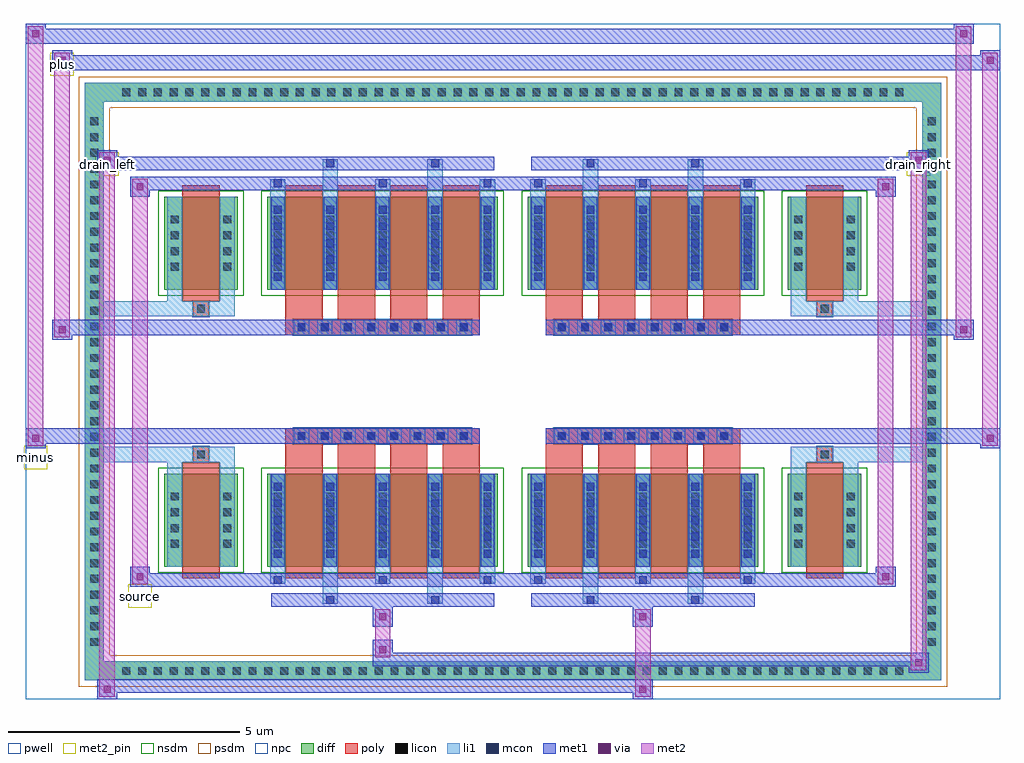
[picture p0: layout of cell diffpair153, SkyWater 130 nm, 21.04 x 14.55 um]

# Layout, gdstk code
import gdstk
lib = gdstk.Library(unit=1e-6, precision=5e-09)
def R(c, l, rs):  # rectangles x0, y0, x1, y1
    for r in rs: c.add(gdstk.rectangle(r[:2], r[2:], *l))
def A(c, l, x, y, w, h, nx, ny, dx, dy):  # array of equal rectangles
    R(c, l, [(x+i*dx, y+j*dy, x+i*dx+w, y+j*dy+h) for i in range(nx) for j in range(ny)])
def P(c, l, *ps):  # polygons
    for p in ps: c.add(gdstk.Polygon(p, *l))
pwell = (64, 44)
diff = (65, 20)
poly = (66, 20)
licon = (66, 44)
li1 = (67, 20)
mcon = (67, 44)
met1 = (68, 20)
via = (68, 44)
met2_pin = (69, 16)
met2 = (69, 20)
nsdm = (93, 44)
psdm = (94, 20)
npc = (95, 20)

diffpair153 = lib.new_cell('diffpair153')
R(diffpair153, pwell, [(-10.5,-6.84,10.5,7.71), (-7.82,-5.03,-0.01,-0.805), (0.01,-5.03,7.82,-0.805), (-7.82,0.805,-0.01,5.03), (0.01,0.805,7.82,5.03)])
A(diffpair153, diff, -8.535, -6.44, 0.41, 0.41, 50, 2, 0.34, 12.47)
A(diffpair153, diff, -9.23, -5.815, 0.41, 0.41, 1, 34, 0, 0.34)
A(diffpair153, diff, 8.82, -5.815, 0.41, 0.41, 1, 34, 0, 0.34)
R(diffpair153, diff, [(-8.535,-6.44,8.535,-6.03), (-9.23,-5.815,-8.82,5.815), (8.82,-5.815,9.23,5.815), (-7.51,-3.985,-5.93,-1.985), (-5.29,-3.985,-0.32,-1.985), (0.32,-3.985,5.29,-1.985), (5.93,-3.985,7.51,-1.985), (-7.51,1.985,-5.93,3.985), (-5.29,1.985,-0.32,3.985), (0.32,1.985,5.29,3.985), (5.93,1.985,7.51,3.985), (-8.535,6.03,8.535,6.44)])
P(diffpair153, diff, [(9.23,6.44),(-9.23,6.44),(-9.23,-6.03),(-8.82,-6.03),(-8.82,6.03),(8.82,6.03),(8.82,-6.03),(-8.82,-6.03),(-9.23,-6.03),(-9.23,-6.44),(9.23,-6.44)])
A(diffpair153, poly, -4.9, -4.235, 0.8, 2.5, 4, 2, 1.13, 5.97)
A(diffpair153, poly, 0.71, -4.235, 0.8, 2.5, 4, 2, 1.13, 5.97)
A(diffpair153, poly, -4.9, -1.735, 0.8, 0.4, 4, 2, 1.13, 3.07)
A(diffpair153, poly, 0.71, -1.735, 0.8, 0.4, 4, 2, 1.13, 3.07)
A(diffpair153, poly, -4.72, -1.335, 0.33, 0.33, 8, 2, 0.5, 2.34)
A(diffpair153, poly, 0.89, -1.335, 0.33, 0.33, 8, 2, 0.5, 2.34)
R(diffpair153, poly, [(-7.12,-4.235,-6.32,-1.735), (6.32,-4.235,7.12,-1.735), (-6.885,-1.735,-6.555,-1.405), (-6.885,-1.735,-6.555,-1.405), (6.555,-1.735,6.885,-1.405), (6.555,-1.735,6.885,-1.405), (-4.9,-1.335,-0.71,-1.005), (0.71,-1.335,4.9,-1.005), (-4.9,1.005,-0.71,1.335), (0.71,1.005,4.9,1.335), (-6.885,1.405,-6.555,1.735), (-6.885,1.405,-6.555,1.735), (6.555,1.405,6.885,1.735), (6.555,1.405,6.885,1.735), (-7.12,1.735,-6.32,4.235), (6.32,1.735,7.12,4.235)])
A(diffpair153, licon, -8.415, -6.32, 0.17, 0.17, 50, 2, 0.34, 12.47)
A(diffpair153, licon, -9.11, -5.695, 0.17, 0.17, 1, 34, 0, 0.34)
A(diffpair153, licon, 8.94, -5.695, 0.17, 0.17, 1, 34, 0, 0.34)
A(diffpair153, licon, -7.37, -3.58, 0.17, 0.17, 1, 4, 0, 0.34)
A(diffpair153, licon, -6.24, -3.58, 0.17, 0.17, 1, 4, 0, 0.34)
A(diffpair153, licon, -5.15, -3.58, 0.17, 0.17, 5, 4, 1.13, 0.34)
A(diffpair153, licon, 0.46, -3.58, 0.17, 0.17, 5, 4, 1.13, 0.34)
A(diffpair153, licon, 6.07, -3.58, 0.17, 0.17, 1, 4, 0, 0.34)
A(diffpair153, licon, 7.2, -3.58, 0.17, 0.17, 1, 4, 0, 0.34)
A(diffpair153, licon, -4.64, -1.255, 0.17, 0.17, 8, 2, 0.5, 2.34)
A(diffpair153, licon, 0.97, -1.255, 0.17, 0.17, 8, 2, 0.5, 2.34)
A(diffpair153, licon, -7.37, 2.39, 0.17, 0.17, 1, 4, 0, 0.34)
A(diffpair153, licon, -6.24, 2.39, 0.17, 0.17, 1, 4, 0, 0.34)
A(diffpair153, licon, -5.15, 2.39, 0.17, 0.17, 5, 4, 1.13, 0.34)
A(diffpair153, licon, 0.46, 2.39, 0.17, 0.17, 5, 4, 1.13, 0.34)
A(diffpair153, licon, 6.07, 2.39, 0.17, 0.17, 1, 4, 0, 0.34)
A(diffpair153, licon, 7.2, 2.39, 0.17, 0.17, 1, 4, 0, 0.34)
R(diffpair153, licon, [(-6.805,-1.655,-6.635,-1.485), (6.635,-1.655,6.805,-1.485), (-6.805,1.485,-6.635,1.655), (6.635,1.485,6.805,1.655)])
A(diffpair153, li1, -8.495, -6.4, 0.33, 0.33, 50, 2, 0.34, 12.47)
A(diffpair153, li1, -9.19, -5.775, 0.33, 0.33, 1, 34, 0, 0.34)
A(diffpair153, li1, 8.86, -5.775, 0.33, 0.33, 1, 34, 0, 0.34)
A(diffpair153, li1, -5.23, -4.36, 0.33, 0.375, 3, 2, 2.26, 8.345)
A(diffpair153, li1, -5.15, -4.36, 0.17, 0.17, 3, 2, 2.26, 8.55)
A(diffpair153, li1, 0.38, -4.36, 0.33, 0.375, 3, 2, 2.26, 8.345)
A(diffpair153, li1, 0.46, -4.36, 0.17, 0.17, 3, 2, 2.26, 8.55)
A(diffpair153, li1, -5.23, -3.985, 0.33, 2, 5, 2, 1.13, 5.97)
A(diffpair153, li1, 0.38, -3.985, 0.33, 2, 5, 2, 1.13, 5.97)
A(diffpair153, li1, -5.15, -3.79, 0.17, 0.17, 5, 5, 1.13, 0.36)
A(diffpair153, li1, -5.15, -3.79, 0.17, 1.61, 5, 2, 1.13, 5.97)
A(diffpair153, li1, 0.46, -3.79, 0.17, 0.17, 5, 5, 1.13, 0.36)
A(diffpair153, li1, 0.46, -3.79, 0.17, 1.61, 5, 2, 1.13, 5.97)
A(diffpair153, li1, -7.45, -3.66, 0.33, 0.33, 1, 4, 0, 0.34)
A(diffpair153, li1, -6.32, -3.66, 0.33, 0.33, 1, 4, 0, 0.34)
A(diffpair153, li1, -5.23, -3.66, 0.33, 0.33, 5, 4, 1.13, 0.34)
A(diffpair153, li1, 0.38, -3.66, 0.33, 0.33, 5, 4, 1.13, 0.34)
A(diffpair153, li1, 5.99, -3.66, 0.33, 0.33, 1, 4, 0, 0.34)
A(diffpair153, li1, 7.12, -3.66, 0.33, 0.33, 1, 4, 0, 0.34)
A(diffpair153, li1, -4.72, -1.335, 0.33, 0.33, 8, 2, 0.5, 2.34)
A(diffpair153, li1, 0.89, -1.335, 0.33, 0.33, 8, 2, 0.5, 2.34)
A(diffpair153, li1, -5.15, 2.18, 0.17, 0.17, 5, 5, 1.13, 0.36)
A(diffpair153, li1, 0.46, 2.18, 0.17, 0.17, 5, 5, 1.13, 0.36)
A(diffpair153, li1, -7.45, 2.31, 0.33, 0.33, 1, 4, 0, 0.34)
A(diffpair153, li1, -6.32, 2.31, 0.33, 0.33, 1, 4, 0, 0.34)
A(diffpair153, li1, -5.23, 2.31, 0.33, 0.33, 5, 4, 1.13, 0.34)
A(diffpair153, li1, 0.38, 2.31, 0.33, 0.33, 5, 4, 1.13, 0.34)
A(diffpair153, li1, 5.99, 2.31, 0.33, 0.33, 1, 4, 0, 0.34)
A(diffpair153, li1, 7.12, 2.31, 0.33, 0.33, 1, 4, 0, 0.34)
R(diffpair153, li1, [(-9.23,-6.44,-8.82,-6.03), (-9.23,-6.44,-8.82,-6.03), (-8.82,-6.44,8.82,-6.03), (8.82,-6.44,9.23,-6.03), (8.82,-6.44,9.23,-6.03), (-9.23,-6.03,-8.82,6.03), (8.82,-6.03,9.23,6.03), (-4.1,-4.79,-3.77,-3.985), (-4.02,-4.79,-3.85,-4.62), (-1.84,-4.79,-1.51,-3.985), (-1.76,-4.79,-1.59,-4.62), (1.51,-4.79,1.84,-3.985), (1.59,-4.79,1.76,-4.62), (3.77,-4.79,4.1,-3.985), (3.85,-4.79,4.02,-4.62), (-7.45,-3.985,-7.12,-1.985), (-6.32,-3.985,-5.99,-1.985), (5.99,-3.985,6.32,-1.985), (7.12,-3.985,7.45,-1.985), (-7.45,-1.985,-7.12,-1.405), (-6.32,-1.985,-5.99,-1.405), (5.99,-1.985,6.32,-1.405), (7.12,-1.985,7.45,-1.405), (-9.23,-1.735,-6.885,-1.405), (-7.45,-1.735,-6.885,-1.405), (-6.885,-1.735,-6.555,-1.405), (-6.555,-1.735,-5.99,-1.405), (5.99,-1.735,6.555,-1.405), (6.555,-1.735,6.885,-1.405), (6.555,-1.735,9.23,-1.405), (6.885,-1.735,7.45,-1.405), (-9.23,1.405,-6.885,1.735), (-7.45,1.405,-6.885,1.735), (-7.45,1.405,-7.12,1.985), (-6.885,1.405,-6.555,1.735), (-6.555,1.405,-5.99,1.735), (-6.32,1.405,-5.99,1.985), (5.99,1.405,6.555,1.735), (5.99,1.405,6.32,1.985), (6.555,1.405,6.885,1.735), (6.555,1.405,9.23,1.735), (6.885,1.405,7.45,1.735), (7.12,1.405,7.45,1.985), (-7.45,1.985,-7.12,3.985), (-6.32,1.985,-5.99,3.985), (5.99,1.985,6.32,3.985), (7.12,1.985,7.45,3.985), (-4.1,3.985,-3.77,4.79), (-1.84,3.985,-1.51,4.79), (1.51,3.985,1.84,4.79), (3.77,3.985,4.1,4.79), (-4.02,4.62,-3.85,4.79), (-1.76,4.62,-1.59,4.79), (1.59,4.62,1.76,4.79), (3.85,4.62,4.02,4.79), (-9.23,6.03,-8.82,6.44), (-9.23,6.03,-8.82,6.44), (-8.82,6.03,8.82,6.44), (8.82,6.03,9.23,6.44), (8.82,6.03,9.23,6.44)])
A(diffpair153, mcon, -5.15, -4.36, 0.17, 0.17, 3, 2, 2.26, 8.55)
A(diffpair153, mcon, 0.46, -4.36, 0.17, 0.17, 3, 2, 2.26, 8.55)
A(diffpair153, mcon, -5.15, -3.79, 0.17, 0.17, 5, 5, 1.13, 0.36)
A(diffpair153, mcon, 0.46, -3.79, 0.17, 0.17, 5, 5, 1.13, 0.36)
A(diffpair153, mcon, -4.64, -1.255, 0.17, 0.17, 8, 2, 0.5, 2.34)
A(diffpair153, mcon, 0.97, -1.255, 0.17, 0.17, 8, 2, 0.5, 2.34)
A(diffpair153, mcon, -5.15, 2.18, 0.17, 0.17, 5, 5, 1.13, 0.36)
A(diffpair153, mcon, 0.46, 2.18, 0.17, 0.17, 5, 5, 1.13, 0.36)
R(diffpair153, mcon, [(-4.02,-4.79,-3.85,-4.62), (-1.76,-4.79,-1.59,-4.62), (1.59,-4.79,1.76,-4.62), (3.85,-4.79,4.02,-4.62), (-4.02,4.62,-3.85,4.79), (-1.76,4.62,-1.59,4.79), (1.59,4.62,1.76,4.79), (3.85,4.62,4.02,4.79)])
A(diffpair153, met1, -5.21, -4.42, 0.29, 0.29, 3, 2, 2.26, 8.55)
A(diffpair153, met1, 0.4, -4.42, 0.29, 0.29, 3, 2, 2.26, 8.55)
A(diffpair153, met1, -5.21, -3.985, 0.29, 2, 5, 2, 1.13, 5.97)
A(diffpair153, met1, 0.4, -3.985, 0.29, 2, 5, 2, 1.13, 5.97)
A(diffpair153, met1, -5.21, -3.85, 0.29, 0.29, 5, 5, 1.13, 0.36)
A(diffpair153, met1, 0.4, -3.85, 0.29, 0.29, 5, 5, 1.13, 0.36)
A(diffpair153, met1, -4.7, -1.315, 0.29, 0.29, 8, 2, 0.5, 2.34)
A(diffpair153, met1, 0.91, -1.315, 0.29, 0.29, 8, 2, 0.5, 2.34)
A(diffpair153, met1, -5.21, 2.12, 0.29, 0.29, 5, 5, 1.13, 0.36)
A(diffpair153, met1, 0.4, 2.12, 0.29, 0.29, 5, 5, 1.13, 0.36)
R(diffpair153, met1, [(-8.96,-6.84,-8.53,-6.41), (2.59,-6.84,3.02,-6.41), (-8.96,-6.7,3.02,-6.41), (8.53,-6.27,8.96,-5.84), (-3.02,-6.13,8.96,-5.84), (-3.02,-5.99,-2.59,-5.56), (-3.02,-5.28,-2.59,-4.85), (2.59,-5.28,3.02,-4.85), (-5.21,-4.85,-0.4,-4.56), (-4.08,-4.85,-3.79,-4.56), (-1.82,-4.85,-1.53,-4.56), (0.4,-4.85,5.21,-4.56), (1.53,-4.85,1.82,-4.56), (3.79,-4.85,4.08,-4.56), (-8.25,-4.42,-7.82,-3.99), (-8.25,-4.42,-5.21,-4.13), (-5.21,-4.42,-0.4,-4.13), (-0.4,-4.42,0.4,-4.13), (0.4,-4.42,5.21,-4.13), (5.21,-4.42,8.25,-4.13), (7.82,-4.42,8.25,-3.99), (-10.5,-1.435,-10.07,-1.005), (10.07,-1.435,10.5,-1.005), (-10.5,-1.335,-0.71,-1.005), (-4.9,-1.335,-0.71,-1.005), (0.71,-1.335,4.9,-1.005), (0.71,-1.335,10.5,-1.005), (-9.93,0.905,-9.5,1.335), (9.5,0.905,9.93,1.335), (-9.93,1.005,-4.9,1.335), (-4.9,1.005,-0.71,1.335), (0.71,1.005,4.9,1.335), (4.9,1.005,9.93,1.335), (-8.25,3.99,-7.82,4.42), (7.82,3.99,8.25,4.42), (-8.25,4.13,-5.21,4.42), (-5.21,4.13,-0.4,4.42), (-0.4,4.13,0.4,4.42), (0.4,4.13,5.21,4.42), (5.21,4.13,8.25,4.42), (-8.96,4.56,-8.53,4.99), (-8.96,4.56,-5.21,4.85), (-5.21,4.56,-0.4,4.85), (-4.08,4.56,-3.79,4.85), (-1.82,4.56,-1.53,4.85), (0.4,4.56,5.21,4.85), (1.53,4.56,1.82,4.85), (3.79,4.56,4.08,4.85), (5.21,4.56,8.96,4.85), (8.53,4.56,8.96,4.99), (-9.93,6.71,-9.5,7.14), (-9.93,6.71,-7.82,7.04), (-7.82,6.71,7.82,7.04), (7.82,6.71,10.5,7.04), (10.07,6.71,10.5,7.14), (-10.5,7.28,-10.07,7.71), (-10.5,7.28,-7.82,7.61), (-7.82,7.28,7.82,7.61), (7.82,7.28,9.93,7.61), (9.5,7.28,9.93,7.71)])
R(diffpair153, via, [(-8.82,-6.7,-8.67,-6.55), (2.73,-6.7,2.88,-6.55), (8.67,-6.13,8.82,-5.98), (-2.88,-5.85,-2.73,-5.7), (-2.88,-5.14,-2.73,-4.99), (2.73,-5.14,2.88,-4.99), (-8.11,-4.28,-7.96,-4.13), (7.96,-4.28,8.11,-4.13), (-10.36,-1.295,-10.21,-1.145), (10.21,-1.295,10.36,-1.145), (-9.79,1.045,-9.64,1.195), (9.64,1.045,9.79,1.195), (-8.11,4.13,-7.96,4.28), (7.96,4.13,8.11,4.28), (-8.82,4.7,-8.67,4.85), (8.67,4.7,8.82,4.85), (-9.79,6.85,-9.64,7), (10.21,6.85,10.36,7), (-10.36,7.42,-10.21,7.57), (9.64,7.42,9.79,7.57)])
R(diffpair153, met2_pin, [(-8.285,-4.87,-7.785,-4.37), (-10.535,-1.885,-10.035,-1.385), (-8.995,4.44,-8.495,4.94), (8.495,4.44,8.995,4.94), (-9.965,6.59,-9.465,7.09)])
R(diffpair153, met2, [(-8.91,-6.79,-8.58,-6.46), (-8.91,-6.79,-8.58,4.94), (2.64,-6.79,2.97,-6.46), (2.64,-6.46,2.97,-5.23), (8.58,-6.22,8.91,-5.89), (8.58,-6.22,8.91,4.94), (-2.97,-5.94,-2.64,-5.61), (-2.97,-5.61,-2.64,-5.23), (-2.97,-5.23,-2.64,-4.9), (2.64,-5.23,2.97,-4.9), (-8.2,-4.37,-7.87,-4.04), (-8.2,-4.37,-7.87,4.37), (7.87,-4.37,8.2,-4.04), (7.87,-4.37,8.2,4.37), (-10.45,-1.385,-10.12,-1.055), (-10.45,-1.385,-10.12,7.66), (10.12,-1.385,10.45,-1.055), (10.12,-1.385,10.45,7.09), (-9.88,0.955,-9.55,1.285), (-9.88,0.955,-9.55,7.09), (9.55,0.955,9.88,1.285), (9.55,0.955,9.88,7.66), (-8.2,4.04,-7.87,4.37), (7.87,4.04,8.2,4.37), (-8.91,4.61,-8.58,4.94), (8.58,4.61,8.91,4.94), (-9.88,6.76,-9.55,7.09), (10.12,6.76,10.45,7.09), (-10.45,7.33,-10.12,7.66), (9.55,7.33,9.88,7.66)])
P(diffpair153, met2, [(10.45,-1.385),(10.45,-1.385),(10.45,-1.055),(10.45,-1.055)],
  [(10.45,6.76),(10.45,6.76),(10.45,7.09),(10.45,7.09)],
  [(-10.12,-1.385),(-10.12,-1.385),(-10.12,-1.055),(-10.12,-1.055)],
  [(-10.12,7.33),(-10.12,7.33),(-10.12,7.66),(-10.12,7.66)],
  [(9.88,0.955),(9.88,0.955),(9.88,1.285),(9.88,1.285)],
  [(9.88,7.33),(9.88,7.33),(9.88,7.66),(9.88,7.66)],
  [(-9.55,0.955),(-9.55,0.955),(-9.55,1.285),(-9.55,1.285)],
  [(-9.55,6.76),(-9.55,6.76),(-9.55,7.09),(-9.55,7.09)],
  [(-8.58,-6.79),(-8.58,-6.79),(-8.58,-6.46),(-8.58,-6.46)],
  [(-8.58,4.61),(-8.58,4.61),(-8.58,4.94),(-8.58,4.94)],
  [(8.91,-6.22),(8.91,-6.22),(8.91,-5.89),(8.91,-5.89)],
  [(8.91,4.61),(8.91,4.61),(8.91,4.94),(8.91,4.94)],
  [(-7.87,-4.37),(-7.87,-4.37),(-7.87,-4.04),(-7.87,-4.04)],
  [(-7.87,4.04),(-7.87,4.04),(-7.87,4.37),(-7.87,4.37)],
  [(8.2,-4.37),(8.2,-4.37),(8.2,-4.04),(8.2,-4.04)],
  [(8.2,4.04),(8.2,4.04),(8.2,4.37),(8.2,4.37)])
R(diffpair153, nsdm, [(-7.64,-4.115,-5.8,-1.855), (-5.42,-4.115,-0.19,-1.855), (0.19,-4.115,5.42,-1.855), (5.8,-4.115,7.64,-1.855), (-7.64,1.855,-5.8,4.115), (-5.42,1.855,-0.19,4.115), (0.19,1.855,5.42,4.115), (5.8,1.855,7.64,4.115)])
P(diffpair153, psdm, [(9.36,6.57),(-9.36,6.57),(-9.36,-5.9),(-8.69,-5.9),(-8.69,5.9),(8.69,5.9),(8.69,-5.9),(-8.69,-5.9),(-9.36,-5.9),(-9.36,-6.57),(9.36,-6.57)])
A(diffpair153, npc, -4.74, -1.355, 0.37, 0.37, 8, 2, 0.5, 2.34)
A(diffpair153, npc, 0.87, -1.355, 0.37, 0.37, 8, 2, 0.5, 2.34)
R(diffpair153, npc, [(-6.905,-1.755,-6.535,-1.385), (6.535,-1.755,6.905,-1.385), (-4.74,-1.355,-3.87,-0.985), (-4.74,-1.355,-3.87,-0.985), (-4.24,-1.355,-3.37,-0.985), (-4.24,-1.355,-3.37,-0.985), (-3.74,-1.355,-2.87,-0.985), (-3.74,-1.355,-2.87,-0.985), (-3.24,-1.355,-2.37,-0.985), (-3.24,-1.355,-2.37,-0.985), (-2.74,-1.355,-1.87,-0.985), (-2.74,-1.355,-1.87,-0.985), (-2.24,-1.355,-1.37,-0.985), (-2.24,-1.355,-1.37,-0.985), (-1.74,-1.355,-0.87,-0.985), (-1.74,-1.355,-0.87,-0.985), (0.87,-1.355,1.74,-0.985), (0.87,-1.355,1.74,-0.985), (1.37,-1.355,2.24,-0.985), (1.37,-1.355,2.24,-0.985), (1.87,-1.355,2.74,-0.985), (1.87,-1.355,2.74,-0.985), (2.37,-1.355,3.24,-0.985), (2.37,-1.355,3.24,-0.985), (2.87,-1.355,3.74,-0.985), (2.87,-1.355,3.74,-0.985), (3.37,-1.355,4.24,-0.985), (3.37,-1.355,4.24,-0.985), (3.87,-1.355,4.74,-0.985), (3.87,-1.355,4.74,-0.985), (-4.74,0.985,-3.87,1.355), (-4.74,0.985,-3.87,1.355), (-4.24,0.985,-3.37,1.355), (-4.24,0.985,-3.37,1.355), (-3.74,0.985,-2.87,1.355), (-3.74,0.985,-2.87,1.355), (-3.24,0.985,-2.37,1.355), (-3.24,0.985,-2.37,1.355), (-2.74,0.985,-1.87,1.355), (-2.74,0.985,-1.87,1.355), (-2.24,0.985,-1.37,1.355), (-2.24,0.985,-1.37,1.355), (-1.74,0.985,-0.87,1.355), (-1.74,0.985,-0.87,1.355), (0.87,0.985,1.74,1.355), (0.87,0.985,1.74,1.355), (1.37,0.985,2.24,1.355), (1.37,0.985,2.24,1.355), (1.87,0.985,2.74,1.355), (1.87,0.985,2.74,1.355), (2.37,0.985,3.24,1.355), (2.37,0.985,3.24,1.355), (2.87,0.985,3.74,1.355), (2.87,0.985,3.74,1.355), (3.37,0.985,4.24,1.355), (3.37,0.985,4.24,1.355), (3.87,0.985,4.74,1.355), (3.87,0.985,4.74,1.355), (-6.905,1.385,-6.535,1.755), (6.535,1.385,6.905,1.755)])
diffpair153.add(gdstk.Label('minus', (-10.285,-1.635), layer=69, texttype=5))
diffpair153.add(gdstk.Label('drain_right', (8.745,4.69), layer=69, texttype=5))
diffpair153.add(gdstk.Label('drain_left', (-8.745,4.69), layer=69, texttype=5))
diffpair153.add(gdstk.Label('source', (-8.035,-4.62), layer=69, texttype=5))
diffpair153.add(gdstk.Label('plus', (-9.715,6.84), layer=69, texttype=5))

lib.write_gds('diffpair153.gds')
